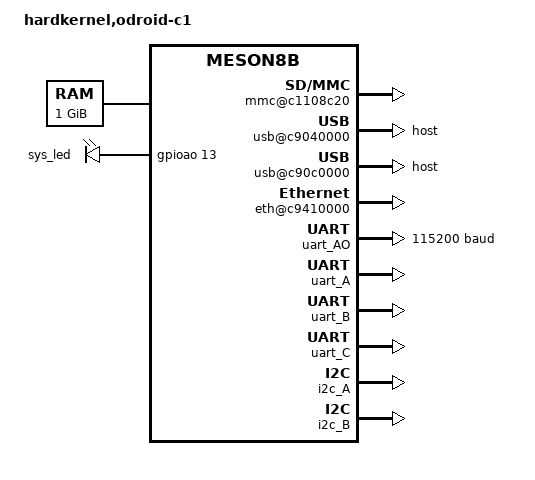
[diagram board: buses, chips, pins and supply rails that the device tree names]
/*-
 * Copyright (c) 2015 John Wehle <john@feith.com>
 * All rights reserved.
 *
 * Redistribution and use in source and binary forms, with or without
 * modification, are permitted provided that the following conditions
 * are met:
 * 1. Redistributions of source code must retain the above copyright
 *    notice, this list of conditions and the following disclaimer.
 * 2. Redistributions in binary form must reproduce the above copyright
 *    notice, this list of conditions and the following disclaimer in the
 *    documentation and/or other materials provided with the distribution.
 *
 * THIS SOFTWARE IS PROVIDED BY THE AUTHOR AND CONTRIBUTORS ``AS IS'' AND
 * ANY EXPRESS OR IMPLIED WARRANTIES, INCLUDING, BUT NOT LIMITED TO, THE
 * IMPLIED WARRANTIES OF MERCHANTABILITY AND FITNESS FOR A PARTICULAR PURPOSE
 * ARE DISCLAIMED. IN NO EVENT SHALL THE AUTHOR OR CONTRIBUTORS BE LIABLE
 * FOR ANY DIRECT, INDIRECT, INCIDENTAL, SPECIAL, EXEMPLARY, OR CONSEQUENTIAL
 * DAMAGES (INCLUDING, BUT NOT LIMITED TO, PROCUREMENT OF SUBSTITUTE GOODS
 * OR SERVICES; LOSS OF USE, DATA, OR PROFITS; OR BUSINESS INTERRUPTION)
 * HOWEVER CAUSED AND ON ANY THEORY OF LIABILITY, WHETHER IN CONTRACT, STRICT
 * LIABILITY, OR TORT (INCLUDING NEGLIGENCE OR OTHERWISE) ARISING IN ANY WAY
 * OUT OF THE USE OF THIS SOFTWARE, EVEN IF ADVISED OF THE POSSIBILITY OF
 * SUCH DAMAGE.
 *
 * $FreeBSD$
 */

/*
 * The ordering of certain devices is significant (e.g. usb depends on
 * usb-phy which depends on gpio, also the timer should appear early on
 * to provide a reasonably accurate DELAY implementation).
 *
 * Both usb-phys devices must be configured to prevent the usb controller
 * from hanging during initialization.
 */

/dts-v1/;

/memreserve/ 0x7900000 0x00600000;			/* 6MB frame buffer */

#include "meson8b.dtsi"

/ {
	model = "hardkernel,odroid-c1";
	compatible = "hardkernel,odroid-c1", "amlogic,s805";

	#address-cells = <1>;
	#size-cells = <1>;

	aliases {
		soc = &soc;
		screen = &screen;
		uart0 = &uart_AO;
	};

	memory {
		device_type = "memory";
		reg = <0x0 0x40000000>;		/* 1GB RAM */
	};

	soc: soc {
		device_type = "soc";
		bus-frequency = <0>;

		scu: scu@c4300000 {
			compatible = "arm,cortex-a5-scu";
			reg = <0xc4300000 0x1000>;
		};

		cpuconfig: cpuconfig@d901ff80 {
			compatible = "amlogic,aml8726-cpuconfig";
			reg = <0xd901ff80 16>;
		};

		ccm@c1104140 {
			compatible = "amlogic,aml8726-ccm";
			reg = <0xc1104140 20>;	/* cbus 0x1050 */

			functions = "ethernet", "i2c", "rng", "sdio", "sdxc",
				    "uart-a", "uart-b", "uart-c",
				    "usb-a", "usb-b";
		};

		pinctrl@c11080b0 {
			compatible = "amlogic,aml8726-pinctrl";
			reg = <0xc11080b0 40>,	/* mux */
			      <0xc11080e8 24>,	/* pu/pd */
			      <0xc1108120 24>,	/* pull enable */
			      <0xc8100014 4>,	/* ao mux */
			      <0xc810002c 4>,	/* ao pu/pd */
			      <0xc810002c 4>;	/* ao pull enable */

			/*
			 * Currently only pin muxing that deviates
			 * from the power on default of gpio is
			 * specified here.
			 */

			pinctrl-names = "default";
			pinctrl-0 = <&pins_uartao &pins_ethernet &pins_hdmi>;

			pins_ethernet: ethernet {
				amlogic,pins = "ref_clk",
					       "tx_clk",  "tx_en",
					       "tx_d0",   "tx_d1",
					       "tx_d2",   "tx_d3",
					       "rx_clk",  "rx_dv",
					       "rx_d0",   "rx_d1",
					       "rx_d2",   "rx_d3",
					       "mdc",     "mdio";
				amlogic,function = "ethernet";
			};

			pins_hdmi: hdmi {
				amlogic,pins = "cec", "hpd",
					       "scl", "sda";
				amlogic,function = "hdmi";
			};

			pins_sdio_b: sdio_b {
				amlogic,pins = "clk", "cmd",
					       "d0",  "d1",
					       "d2",  "d3";
				amlogic,function = "sdio-b";
				amlogic,pull = "up";
			};

			pins_sdxc_b: sdxc_b {
				amlogic,pins = "clk", "cmd",
					       "d0",  "d1",
					       "d2",  "d3";
				amlogic,function = "sdxc-b";
				amlogic,pull = "up";
			};

			pins_sdio_c: sdio_c {
				amlogic,pins = "clk", "cmd",
					       "d0",  "d1",
					       "d2",  "d3";
				amlogic,function = "sdio-c";
				amlogic,pull = "up";
			};

			pins_sdxc_c: sdxc_c {
				amlogic,pins = "clk", "cmd",
					       "d0",  "d1",
					       "d2",  "d3",
					       "d4",  "d5",
					       "d6",  "d7";
				amlogic,function = "sdxc-c";
				amlogic,pull = "up";
			};

			pins_i2c_a: i2c_a {
				amlogic,pins = "scl", "sda";
				amlogic,function = "i2c-a";
			};

			pins_i2c_b: i2c_b {
				amlogic,pins = "scl", "sda";
				amlogic,function = "i2c-b";
			};

			pins_uarta: uarta {
				amlogic,pins = "tx", "rx", "cts", "rts";
				amlogic,function = "uart-a";
			};

			pins_uartb: uartb {

				/*
				 * gpiox18 appears to have special
				 * meaning to the bootloader making
				 * hardware handshaking unavailable.
				 */

				amlogic,pins = "tx", "rx";
				amlogic,function = "uart-b";
			};

			pins_uartc: uartc {
				amlogic,pins = "tx", "rx", "cts", "rts";
				amlogic,function = "uart-c";
			};

			pins_uartao: uartao {
				amlogic,pins = "tx", "rx";
				amlogic,function = "uart-ao";
			};
		};

		rtc@c8100740 {
			compatible = "amlogic,aml8726-rtc";
			reg = <0xc8100740 20>;	/* aobus 0x1d0 */
			interrupts = <0 72 1>;
		};

		clkmsr: clkmsr@c1108758 {
			compatible = "amlogic,aml8726-clkmsr";
			reg = <0xc1108758 16>;	/* cbus 0x21d6 */

			clocks = <&clk81>;
		};

		gpioao: gpio@c8100024 {
			/* gpio unit 7 */
			compatible = "amlogic,aml8726-gpio";
			reg = <0xc8100024 4>,	/* oen aobus 0x9 */
			      <0xc8100024 4>,	/* out */
			      <0xc8100028 4>;	/* in */

			gpio-controller;
			#gpio-cells = <1>;
			pin-count = <14>;
		};

		gpio3: gpio@c1108054 {
			compatible = "amlogic,aml8726-gpio";
			reg = <0xc1108054 4>,	/* oen cbus 0x2015 */
			      <0xc1108058 4>,	/* out */
			      <0xc110805c 4>;	/* in */

			gpio-controller;
			#gpio-cells = <1>;
			pin-count = <32>;
		};

		gpio5: gpio@c110806c {
			compatible = "amlogic,aml8726-gpio";
			reg = <0xc110806c 4>,	/* oen cbus 0x201b */
			      <0xc1108070 4>,	/* out */
			      <0xc1108074 4>;	/* in */

			gpio-controller;
			#gpio-cells = <1>;
			pin-count = <32>;
		};

		mmc@c1108c20 {
			compatible = "amlogic,aml8726-mmc";
			reg = <0xc1108c20 32>;	/* cbus 0x2308 */
			interrupts = <0 28 1>;

			clocks = <&clk81>;

			pinctrl-names = "default";
			pinctrl-0 = <&pins_sdio_b>;

			/*
			 * Ordering is significant.
			 *
			 * mmc-vselect low sets first voltage
			 * mmc-vselect high sets second voltage
			 *
			 * If mmc-vselect is not present, then
			 * only one voltage should be specified.
			 */
			mmc-voltages = "3.3", "1.8";
			mmc-vselect = <&gpioao 3>;	/* gpioao_3 */

			mmc-pwr-en = <&gpio5 31 0>;	/* card_8 */
			ins-detect = <&gpio5 29 0>;	/* card_6 */
		};

		sdxc@c1108e00 {
			compatible = "amlogic,aml8726-sdxc-m8";
			clock-frequency = <1275000000>;
			reg = <0xc1108e00 60>;	/* cbus 0x2380 */
			interrupts = <0 78 1>;

			pinctrl-names = "default";
			pinctrl-0 = <&pins_sdxc_c>;

			mmc-voltages = "1.8";

			mmc-rst = <&gpio3 9 0>;	/* boot_9 emmc-rst */
		};

		rng@c1108100 {
			compatible = "amlogic,aml8726-rng";
			reg = <0xc1108100 8>;	/* cbus 0x2040 */
		};

		usb-phy@c1108800 {
			/* usb-a phy */
			compatible = "amlogic,aml8726-m8-usb-phy";
			reg = <0xc1108800 32>;	/* cbus 0x2200 */

			usb-pwr-en = <&gpioao 5 1>;	/* gpioao_5 vbus */
		};

		usb-phy@c1108820 {
			/* usb-b phy */
			compatible = "amlogic,aml8726-m8-usb-phy";
			reg = <0xc1108820 32>;	/* cbus 0x2208 */

			force-aca = "true";
			usb-hub-rst = <&gpioao 4 0>;	/* gpioao_4 hub-rst */
		};

		usb@c9040000 {
			/* usb-a */
			compatible = "synopsys,designware-hs-otg2";
			reg = <0xc9040000 0x40000>;	/* ahbbus 0x40000*/
			interrupts = <0 30 4>;
			#address-cells = <1>;
			#size-cells = <0>;

			dr_mode = "host";
		};

		usb@c90c0000 {
			/* usb-b */
			compatible = "synopsys,designware-hs-otg2";
			reg = <0xc90c0000 0x40000>;	/* ahbbus 0xc0000 */
			interrupts = <0 31 4>;
			#address-cells = <1>;
			#size-cells = <0>;

			dr_mode = "host";
		};

		eth@c9410000 {
			/* ethernet */
			compatible = "amlogic,meson6-dwmac";
			reg = <0xc9410000 0x2000>;	/* ahbbus 0x410000 */
			interrupts = <0 8 1>;
			#address-cells = <1>;
			#size-cells = <0>;

			eth-phy-rst = <&gpio3 23 0>;	/* gpioh_4 phy-rst */
		};

		screen: fb@c8006020 {
			device_type = "display";
			compatible = "amlogic,aml8726-fb";
			reg = <0xc8006048 12>,	/* CANVAS */
			      <0xc1106800 1024>,	/* VIU */
			      <0xc1107400 1024>;	/* VPP */
			interrupts = <0 2 1>,
				     <0 3 1>,
				     <0 12 1>,
				     <0 13 1>;

			address = <0x7900000>;	/* match memreserve */
			width = <720>;
			height = <480>;
			depth = <24>;
			linebytes = <2160>;
		};
	};

	leds {
		compatible = "gpio-leds";

		sys_led {
			gpios = <&gpioao 13>;	/* gpioao_13 sys_led */
			label = "sys_led";
		};
	};

	chosen {
		stdin = "uart0";
		stdout = "uart0";
	};
};

&clk81 {
	clock-frequency = <0>;
};

&uart_AO {
	status = "okay";
	current-speed = <115200>;
};

&uart_A {
	status = "okay";
};

&uart_B {
	status = "okay";
};

&uart_C {
	status = "okay";
};

&i2c_A {
	status = "okay";
};

&i2c_B {
	status = "okay";
};
